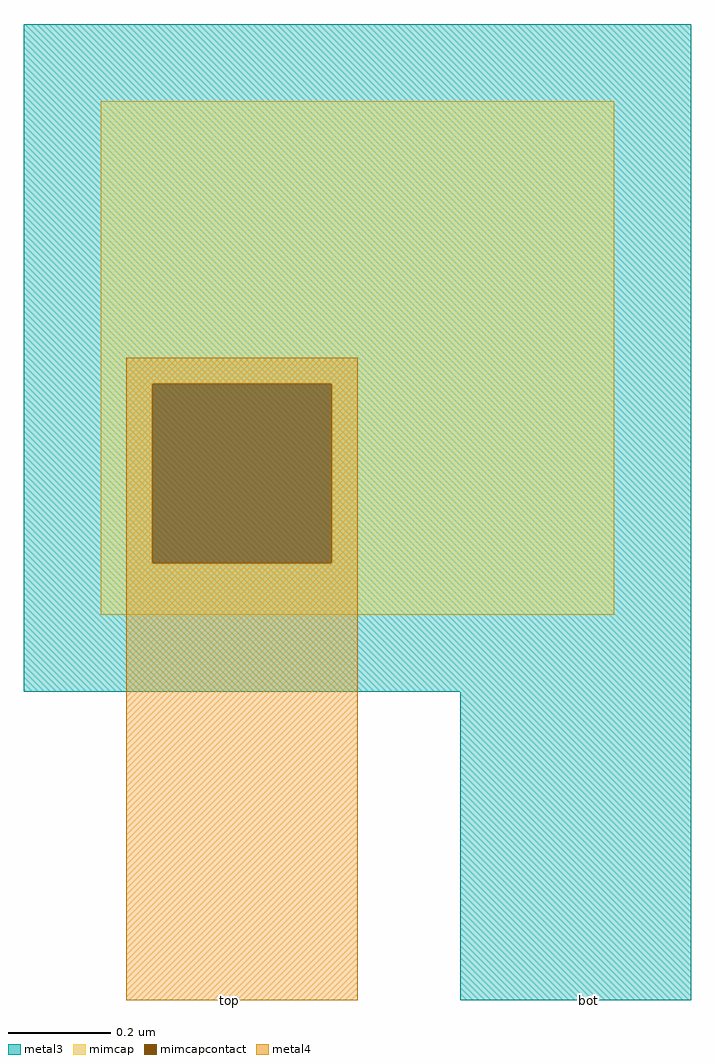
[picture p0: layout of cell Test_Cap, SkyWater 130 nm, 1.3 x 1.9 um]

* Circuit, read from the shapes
.subckt Test_Cap bot top
XC1 top bot sky130_fd_pr__cap_mim_m3_1 w=1 l=1
.ends

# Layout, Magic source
magic
tech sky130A
<< metal3 >>
rect -15 -15 115 115
rect 70 -75 115 -15
<< mimcap >>
rect 0 45 100 100
rect 0 10 10 45
rect 45 10 100 45
rect 0 0 100 10
<< mimcapcontact >>
rect 10 10 45 45
<< metal4 >>
rect 5 45 50 50
rect 5 10 10 45
rect 45 10 50 45
rect 5 -75 50 10
<< labels >>
rlabel metal3 95 -75 95 -75 5 bot
rlabel metal4 25 -75 25 -75 5 top
<< end >>
